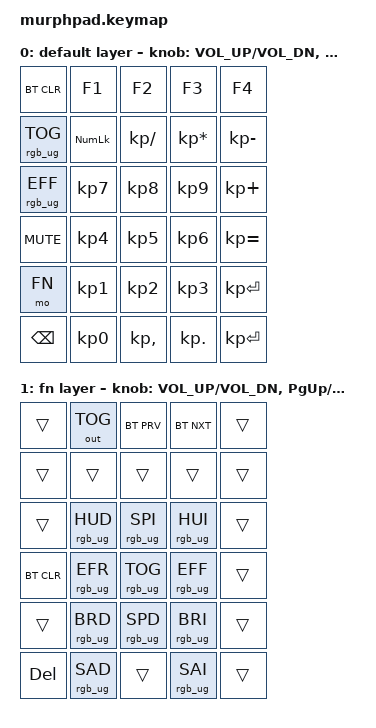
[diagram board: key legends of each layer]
/*
 * Copyright (c) 2021 Kyle McCreery
 *
 * SPDX-License-Identifier: MIT
 */

#include <behaviors.dtsi>
#include <dt-bindings/zmk/keys.h>
#include <dt-bindings/zmk/bt.h>
#include <dt-bindings/zmk/outputs.h>
#include <dt-bindings/zmk/rgb.h>

#define TIMEOUT 300

/* Layer Names*/
#define DEFAULT 0
#define FN      1

&encoder_1 {
    status = "okay";
};

&encoder_2 {
    status = "okay";
};

/* Combo Definitions*/
/ {
    combos {
        compatible = "zmk,combos";
        combo_btclr {
            timeout-ms = <TIMEOUT>;
            key-positions = <1 6>;
            bindings = <&bt BT_CLR>;
        };
        combo_reset {
            timeout-ms = <TIMEOUT>;
            key-positions = <1 3>;
            bindings = <&sys_reset>;
        };
        combo_bootloader {
            timeout-ms = <TIMEOUT>;
            key-positions = <1 2>;
            bindings = <&bootloader>;
        };
        combo_bt_nxt {
            timeout-ms = <TIMEOUT>;
            key-positions = <1 4>;
            bindings = <&bt BT_NXT>;
        };
    };

    sensors {
        compatible = "zmk,keymap-sensors";
        sensors = <&encoder_1 &encoder_2>;
    };


    keymap0: keymap {
        compatible = "zmk,keymap";

        default_layer {
        label = "default layer";
            bindings = <
                &bt BT_CLR       &kp F1       &kp F2          &kp F3            &kp F4
                &rgb_ug RGB_TOG  &kp KP_NUM   &kp KP_DIVIDE   &kp KP_MULTIPLY   &kp KP_MINUS
                &rgb_ug RGB_EFF  &kp KP_N7    &kp KP_N8       &kp KP_N9         &kp KP_PLUS
                &kp C_MUTE       &kp KP_N4    &kp KP_N5       &kp KP_N6         &kp KP_EQUAL
                &mo FN           &kp KP_N1    &kp KP_N2       &kp KP_N3         &kp KP_ENTER
                &kp BSPC         &kp KP_N0    &kp KP_COMMA    &kp KP_DOT        &kp KP_ENTER
            >;
            sensor-bindings = <&inc_dec_kp C_VOL_UP C_VOL_DN &inc_dec_kp PG_UP PG_DN>;

        };

        fn_layer {
        label = "fn layer";
            bindings = <
                &trans      &out OUT_TOG     &bt BT_PRV       &bt BT_NXT       &trans
                &trans      &trans           &trans           &trans           &trans
                &trans      &rgb_ug RGB_HUD  &rgb_ug RGB_SPI  &rgb_ug RGB_HUI  &trans
                &bt BT_CLR  &rgb_ug RGB_EFR  &rgb_ug RGB_TOG  &rgb_ug RGB_EFF  &trans
                &trans      &rgb_ug RGB_BRD  &rgb_ug RGB_SPD  &rgb_ug RGB_BRI  &trans
                &kp DEL     &rgb_ug RGB_SAD  &trans           &rgb_ug RGB_SAI  &trans
            >;
            sensor-bindings = <&inc_dec_kp C_VOL_UP C_VOL_DN &inc_dec_kp PG_UP PG_DN>;

        };
    };
};
